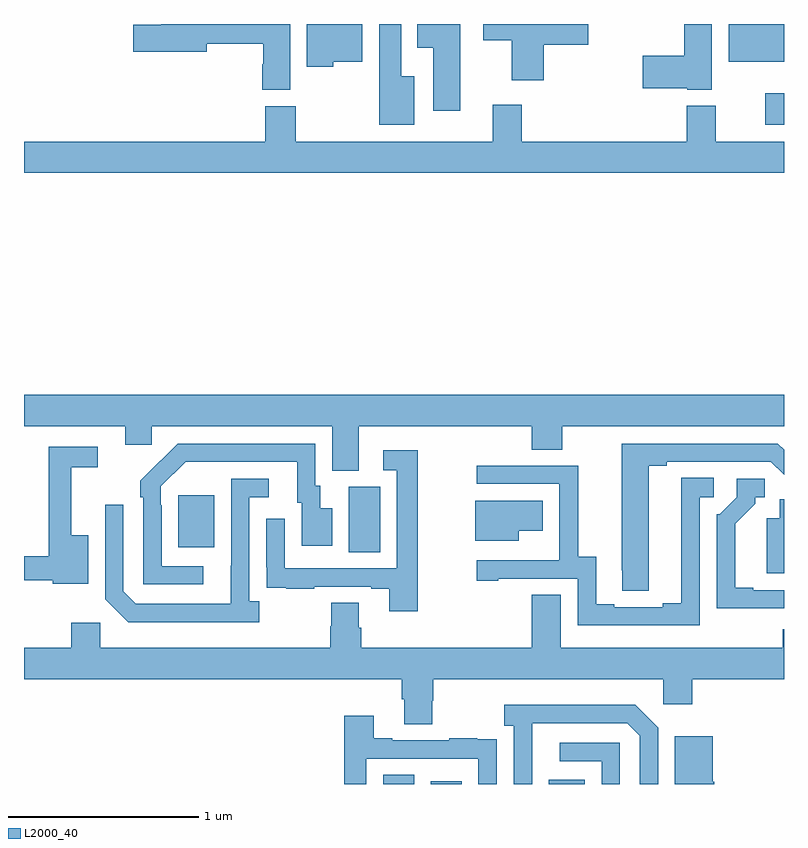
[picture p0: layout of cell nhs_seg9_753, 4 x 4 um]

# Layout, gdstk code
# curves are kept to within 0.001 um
import gdstk
lib = gdstk.Library(unit=1e-6, precision=1e-09)
def R(c, l, rs):  # rectangles x0, y0, x1, y1
    for r in rs: c.add(gdstk.rectangle(r[:2], r[2:], *l))
def P(c, l, *ps):  # polygons
    for p in ps: c.add(gdstk.Polygon(p, *l))
L2000_40 = (2000, 40)

nhs_seg9_753 = lib.new_cell('nhs_seg9_753')
R(nhs_seg9_753, L2000_40, [(150.89,1230.5,151.054,1230.548), (151.142,1230.5,151.303,1230.514), (151.763,1230.5,151.951,1230.523), (150.71,1231.72,150.874,1232.064), (149.813,1231.745,150.001,1232.02), (152.901,1233.971,153,1234.135), (152.708,1234.301,153,1234.5)])
P(nhs_seg9_753, L2000_40, [(150.4,1234.5),(149.723,1234.5),(149.723,1234.496),(149.574,1234.496),(149.574,1234.354),(149.962,1234.354),(149.962,1234.396),(150.259,1234.396),(150.259,1234.289),(150.254,1234.289),(150.254,1234.153),(150.4,1234.153)],
  [(151.736,1234.391),(151.969,1234.391),(151.969,1234.5),(151.416,1234.5),(151.416,1234.414),(151.568,1234.414),(151.568,1234.203),(151.736,1234.203)],
  [(151.297,1234.5),(151.07,1234.5),(151.07,1234.376),(151.154,1234.376),(151.154,1234.044),(151.297,1234.044)],
  [(151.054,1234.225),(150.985,1234.225),(150.985,1234.499),(150.981,1234.499),(150.981,1234.5),(150.869,1234.5),(150.869,1233.971),(151.054,1233.971)],
  [(152.62,1234.5),(152.474,1234.5),(152.474,1234.334),(152.256,1234.334),(152.256,1234.163),(152.49,1234.163),(152.49,1234.154),(152.62,1234.154)],
  [(150.627,1234.301),(150.781,1234.301),(150.781,1234.5),(150.488,1234.5),(150.488,1234.274),(150.627,1234.274)],
  [(153,1233.88),(152.641,1233.88),(152.641,1234.069),(152.489,1234.069),(152.489,1233.88),(151.619,1233.88),(151.619,1234.075),(151.466,1234.075),(151.466,1233.88),(150.429,1233.88),(150.429,1234.068),(150.269,1234.068),(150.269,1233.88),(149,1233.88),(149,1233.716),(153,1233.716)],
  [(150.763,1232.384),(151.673,1232.384),(151.673,1232.26),(151.833,1232.26),(151.833,1232.384),(153,1232.384),(153,1232.548),(149,1232.548),(149,1232.384),(149.534,1232.384),(149.534,1232.286),(149.673,1232.286),(149.673,1232.384),(150.623,1232.384),(150.623,1232.149),(150.763,1232.149)],
  [(149.944,1231.647),(149.724,1231.647),(149.724,1231.967),(149.721,1231.967),(149.721,1232.067),(149.85,1232.196),(150.437,1232.196),(150.437,1231.98),(150.461,1231.98),(150.461,1231.755),(150.622,1231.755),(150.622,1231.951),(150.559,1231.951),(150.559,1232.07),(150.534,1232.07),(150.534,1232.292),(149.81,1232.292),(149.613,1232.097),(149.613,1232.009),(149.628,1232.009),(149.628,1231.551),(149.944,1231.551)],
  [(152.287,1232.176),(152.383,1232.176),(152.383,1232.196),(152.931,1232.196),(153,1232.127),(153,1232.259),(152.967,1232.292),(152.147,1232.292),(152.147,1231.624),(152.148,1231.624),(152.148,1231.516),(152.287,1231.516)],
  [(149.338,1231.81),(149.249,1231.81),(149.249,1232.166),(149.389,1232.166),(149.389,1232.274),(149.131,1232.274),(149.131,1231.7),(149,1231.7),(149,1231.572),(149.15,1231.572),(149.15,1231.553),(149.338,1231.553)],
  [(151.072,1232.257),(150.891,1232.257),(150.891,1232.151),(150.963,1232.151),(150.963,1231.635),(150.372,1231.635),(150.372,1231.897),(150.276,1231.897),(150.276,1231.642),(150.277,1231.642),(150.277,1231.533),(150.379,1231.533),(150.379,1231.527),(150.527,1231.527),(150.527,1231.539),(150.827,1231.539),(150.827,1231.527),(150.923,1231.527),(150.923,1231.41),(151.072,1231.41)],
  [(152.556,1232.01),(152.629,1232.01),(152.629,1232.111),(152.459,1232.111),(152.459,1231.451),(152.363,1231.451),(152.363,1231.431),(152.107,1231.431),(152.107,1231.446),(152.011,1231.446),(152.011,1231.697),(151.917,1231.697),(151.917,1232.175),(151.383,1232.175),(151.383,1232.079),(151.818,1232.079),(151.818,1231.678),(151.817,1231.678),(151.817,1231.677),(151.383,1231.677),(151.383,1231.569),(151.495,1231.569),(151.495,1231.581),(151.914,1231.581),(151.914,1231.335),(152.556,1231.335)],
  [(150.238,1231.462),(150.186,1231.462),(150.186,1232.01),(150.289,1232.01),(150.289,1232.106),(150.09,1232.106),(150.089,1231.449),(149.589,1231.449),(149.523,1231.515),(149.523,1231.969),(149.427,1231.969),(149.427,1231.473),(149.548,1231.352),(150.238,1231.352)],
  [(152.909,1231.425),(153,1231.425),(153,1231.521),(152.839,1231.521),(152.839,1231.534),(152.743,1231.534),(152.743,1231.87),(152.848,1231.975),(152.848,1232.01),(152.898,1232.01),(152.898,1232.106),(152.751,1232.106),(152.751,1232.01),(152.661,1231.92),(152.646,1231.92),(152.646,1231.424)],
  [(153,1231.998),(152.978,1231.998),(152.978,1231.9),(152.909,1231.9),(152.909,1231.61),(153,1231.61)],
  [(151.603,1231.832),(151.729,1231.832),(151.729,1231.99),(151.376,1231.99),(151.376,1231.781),(151.603,1231.781)],
  [(153,1231.314),(152.993,1231.314),(152.993,1231.216),(151.825,1231.216),(151.825,1231.496),(151.673,1231.496),(151.673,1231.216),(150.776,1231.216),(150.776,1231.322),(150.763,1231.322),(150.763,1231.454),(150.616,1231.454),(150.616,1231.329),(150.611,1231.329),(150.611,1231.216),(149.4,1231.216),(149.4,1231.348),(149.249,1231.348),(149.249,1231.216),(149,1231.216),(149,1231.052),(150.989,1231.052),(150.989,1230.946),(151.001,1230.946),(151.001,1230.814),(151.149,1230.814),(151.149,1230.939),(151.154,1230.939),(151.154,1231.052),(152.364,1231.052),(152.364,1230.921),(152.516,1230.921),(152.516,1231.052),(153,1231.052)],
  [(151.674,1230.619),(151.675,1230.819),(152.175,1230.819),(152.241,1230.753),(152.241,1230.5),(152.337,1230.5),(152.337,1230.795),(152.216,1230.916),(151.527,1230.916),(151.527,1230.806),(151.578,1230.806),(151.578,1230.5),(151.674,1230.5)],
  [(150.801,1230.633),(151.392,1230.633),(151.392,1230.5),(151.488,1230.5),(151.488,1230.626),(151.487,1230.626),(151.487,1230.735),(151.385,1230.735),(151.385,1230.742),(151.237,1230.742),(151.237,1230.729),(150.937,1230.729),(150.937,1230.742),(150.841,1230.742),(150.841,1230.859),(150.685,1230.859),(150.685,1230.5),(150.801,1230.5)],
  [(152.633,1230.511),(152.626,1230.511),(152.626,1230.751),(152.426,1230.751),(152.426,1230.5),(152.633,1230.5)],
  [(152.136,1230.717),(151.821,1230.717),(151.821,1230.621),(152.04,1230.621),(152.04,1230.5),(152.136,1230.5)])

lib.write_gds('nhs_seg9_753.gds')
